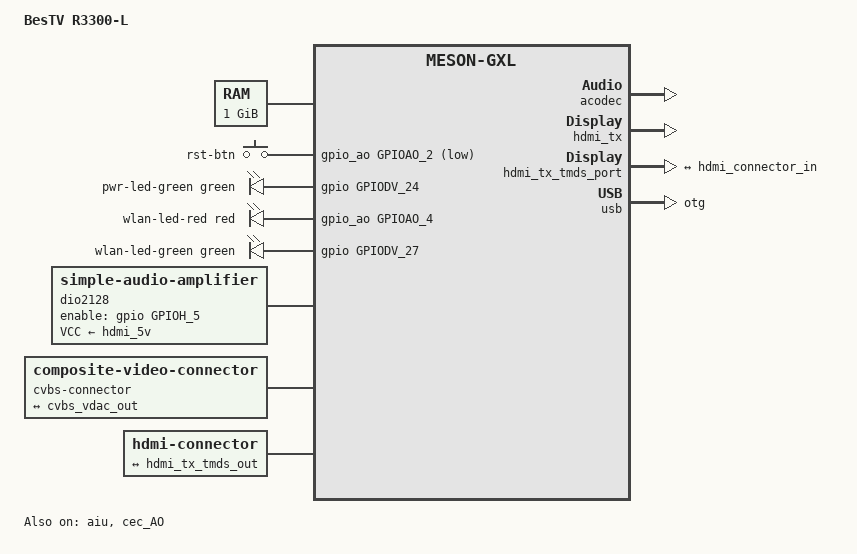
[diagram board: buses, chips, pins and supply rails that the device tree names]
// SPDX-License-Identifier: (GPL-2.0+ OR MIT)
/*
 * Copyright (c) 2025 retro98boy <retro98boy@qq.com>
 */

/dts-v1/;

#include "meson-gxl-s905x-p212.dtsi"
#include <dt-bindings/sound/meson-aiu.h>
#include <dt-bindings/input/input.h>
#include <dt-bindings/leds/common.h>

/ {
	compatible = "bestv,r3300-l", "amlogic,s905x", "amlogic,meson-gxl";
	model = "BesTV R3300-L";

	aliases {
		rtc1 = &vrtc;
	};

	memory@0 {
		reg = <0x0 0x0 0x0 0x40000000>;
	};

	gpio-keys-polled {
		compatible = "gpio-keys-polled";
		poll-interval = <100>;

		rst-btn {
			label = "rst-btn";
			linux,code = <KEY_RESTART>;
			gpios = <&gpio_ao GPIOAO_2 GPIO_ACTIVE_LOW>;
		};
	};

	gpio-leds {
		compatible = "gpio-leds";

		/*
		 * The power LED on the device is always on, defaulting to red.
		 * Pulling GPIODV_24 high changes it to green, indicating that the kernel has started.
		 */
		pwr-led-green {
			function = LED_FUNCTION_POWER;
			color = <LED_COLOR_ID_GREEN>;
			gpios = <&gpio GPIODV_24 GPIO_ACTIVE_HIGH>;
			default-state = "on";
		};

		/*
		 * GPIOAO_4 is used to turn on the WLAN LED, defaulting to red,
		 * and GPIODV_27 is used to change the color of the WLAN LED.
		 */
		wlan-led-red {
			function = LED_FUNCTION_WLAN;
			color = <LED_COLOR_ID_RED>;
			gpios = <&gpio_ao GPIOAO_4 GPIO_ACTIVE_HIGH>;
			default-state = "on";
		};

		/*
		 * modprobe ledtrig-netdev
		 * echo netdev > /sys/class/leds/green\:wlan/trigger
		 * echo wlan0 > /sys/class/leds/green\:wlan/device_name
		 *
		 * echo 1 > /sys/class/leds/green\:wlan/link
		 * or
		 * echo 1 > /sys/class/leds/green\:wlan/rx
		 */
		wlan-led-green {
			function = LED_FUNCTION_WLAN;
			color = <LED_COLOR_ID_GREEN>;
			gpios = <&gpio GPIODV_27 GPIO_ACTIVE_HIGH>;
			default-state = "off";
			linux,default-trigger = "netdev";
		};
	};

	dio2128: analog-amplifier {
		compatible = "simple-audio-amplifier";
		sound-name-prefix = "AU2";
		VCC-supply = <&hdmi_5v>;
		enable-gpios = <&gpio GPIOH_5 GPIO_ACTIVE_HIGH>;
	};

	cvbs-connector {
		compatible = "composite-video-connector";

		port {
			cvbs_connector_in: endpoint {
				remote-endpoint = <&cvbs_vdac_out>;
			};
		};
	};

	hdmi-connector {
		compatible = "hdmi-connector";
		type = "a";

		port {
			hdmi_connector_in: endpoint {
				remote-endpoint = <&hdmi_tx_tmds_out>;
			};
		};
	};

	sound {
		compatible = "amlogic,gx-sound-card";
		model = "S905X-P212";
		audio-aux-devs = <&dio2128>;
		audio-widgets = "Line", "Lineout";
		audio-routing = "AU2 INL", "ACODEC LOLN",
				"AU2 INR", "ACODEC LORN",
				"Lineout", "AU2 OUTL",
				"Lineout", "AU2 OUTR";
		clocks = <&clkc CLKID_MPLL0>,
			 <&clkc CLKID_MPLL1>,
			 <&clkc CLKID_MPLL2>;

		assigned-clocks = <&clkc CLKID_MPLL0>,
				  <&clkc CLKID_MPLL1>,
				  <&clkc CLKID_MPLL2>;
		assigned-clock-parents = <0>, <0>, <0>;
		assigned-clock-rates = <294912000>,
				       <270950400>,
				       <393216000>;
		dai-link-0 {
			sound-dai = <&aiu AIU_CPU CPU_I2S_FIFO>;
		};

		dai-link-1 {
			sound-dai = <&aiu AIU_CPU CPU_I2S_ENCODER>;
			dai-format = "i2s";
			mclk-fs = <256>;

			codec-0 {
				sound-dai = <&aiu AIU_HDMI CTRL_I2S>;
			};

			codec-1 {
				sound-dai = <&aiu AIU_ACODEC CTRL_I2S>;
			};
		};

		dai-link-2 {
			sound-dai = <&aiu AIU_HDMI CTRL_OUT>;

			codec-0 {
				sound-dai = <&hdmi_tx>;
			};
		};

		dai-link-3 {
			sound-dai = <&aiu AIU_ACODEC CTRL_OUT>;

			codec-0 {
				sound-dai = <&acodec>;
			};
		};
	};
};

&acodec {
	AVDD-supply = <&vddio_ao18>;
	status = "okay";
};

&aiu {
	status = "okay";
};

&cec_AO {
	status = "okay";
	pinctrl-0 = <&ao_cec_pins>;
	pinctrl-names = "default";
	hdmi-phandle = <&hdmi_tx>;
};

&cvbs_vdac_port {
	cvbs_vdac_out: endpoint {
		remote-endpoint = <&cvbs_connector_in>;
	};
};

&emmc_pwrseq {
	reset-gpios = <&gpio BOOT_9 GPIO_ACTIVE_LOW>; /* not sure */
};

&hdmi_5v {
	/delete-property/ gpio;
	/delete-property/ enable-active-high;
};

&hdmi_tx {
	status = "okay";
	pinctrl-0 = <&hdmi_hpd_pins>, <&hdmi_i2c_pins>;
	pinctrl-names = "default";
	hdmi-supply = <&hdmi_5v>;
};

&hdmi_tx_tmds_port {
	hdmi_tx_tmds_out: endpoint {
		remote-endpoint = <&hdmi_connector_in>;
	};
};

&sd_emmc_b {
	max-frequency = <200000000>;
	sd-uhs-sdr12;
	sd-uhs-sdr25;
	sd-uhs-sdr50;
	sd-uhs-sdr104;
	sd-uhs-ddr50;
};

&sd_emmc_c {
	mmc-hs400-1_8v;
};

&uart_A {
	status = "disabled";
	/delete-node/ bluetooth;
};

&usb {
	dr_mode = "otg";
};
